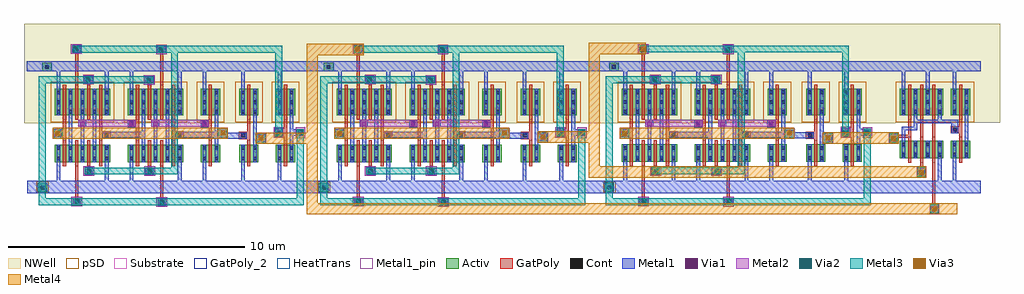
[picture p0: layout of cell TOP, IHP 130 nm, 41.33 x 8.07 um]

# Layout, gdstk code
from math import pi, radians
import gdstk
lib = gdstk.Library(unit=1e-6, precision=1e-09)
def R(c, l, rs):  # rectangles x0, y0, x1, y1
    for r in rs: c.add(gdstk.rectangle(r[:2], r[2:], *l))
def A(c, l, x, y, w, h, nx, ny, dx, dy):  # array of equal rectangles
    R(c, l, [(x+i*dx, y+j*dy, x+i*dx+w, y+j*dy+h) for i in range(nx) for j in range(ny)])
def P(c, l, *ps):  # polygons
    for p in ps: c.add(gdstk.Polygon(p, *l))
Activ = (1, 0)
GatPoly = (5, 0)
GatPoly_2 = (5, 2)
Cont = (6, 0)
Metal1 = (8, 0)
Metal1_pin = (8, 2)
Metal2 = (10, 0)
pSD = (14, 0)
Via1 = (19, 0)
Via2 = (29, 0)
Metal3 = (30, 0)
NWell = (31, 0)
Substrate = (40, 0)
Via3 = (49, 0)
Metal4 = (50, 0)
HeatTrans = (51, 0)

pmos = lib.new_cell('pmos')
R(pmos, Activ, [(0,0,0.3,0.3), (0,0,0.81,1.12), (0.51,0,0.81,0.3)])
R(pmos, GatPoly, [(0.34,-0.18,0.47,1.3), (0.34,-0.18,0.47,1.3)])
A(pmos, Cont, 0.07, 0.07, 0.16, 0.16, 1, 3, 0, 0.41)
A(pmos, Cont, 0.58, 0.07, 0.16, 0.16, 1, 3, 0, 0.41)
R(pmos, Metal1, [(0.07,0,0.23,1.12), (0.07,0,0.23,1.12), (0.58,0,0.74,1.12), (0.58,0,0.74,1.12)])
R(pmos, pSD, [(-0.18,-0.3,0.99,1.42)])
R(pmos, NWell, [(-0.31,-0.31,1.12,1.43)])
R(pmos, Substrate, [(0.51,0,0.81,0.3)])
R(pmos, HeatTrans, [(0.34,-0.18,0.47,1.3)])
pmos.add(gdstk.Label('pmos', (0.405,0.56), layer=63, texttype=0))
pmos.add(gdstk.Label('pmos', (0.405,0.56), layer=51, texttype=0))

nmos = lib.new_cell('nmos')
R(nmos, Activ, [(0,0,0.3,0.3), (0,0,0.81,0.74), (0.51,0,0.81,0.3)])
R(nmos, GatPoly, [(0.34,-0.18,0.47,0.92)])
R(nmos, GatPoly_2, [(0.34,-0.18,0.47,0.92)])
R(nmos, Cont, [(0.07,0.07,0.23,0.23), (0.58,0.07,0.74,0.23), (0.07,0.51,0.23,0.67), (0.58,0.51,0.74,0.67)])
R(nmos, Metal1, [(0.07,0,0.23,0.74), (0.58,0,0.74,0.74)])
R(nmos, Metal1_pin, [(0.07,0,0.23,0.74), (0.58,0,0.74,0.74)])
R(nmos, HeatTrans, [(0.34,-0.18,0.47,0.92)])
nmos.add(gdstk.Label('nmos', (0.405,0.37), layer=63, texttype=0))
nmos.add(gdstk.Label('nmos', (0.405,0.37), layer=51, texttype=0))

via_stack_2 = lib.new_cell('via_stack$2')
R(via_stack_2, Metal1, [(-0.145,-0.145,0.145,0.145)])
R(via_stack_2, Metal2, [(-0.145,-0.145,0.145,0.145)])
R(via_stack_2, Via1, [(-0.095,-0.095,0.095,0.095)])
R(via_stack_2, Via2, [(-0.095,-0.095,0.095,0.095)])
R(via_stack_2, Metal3, [(-0.145,-0.145,0.145,0.145)])

via_stack_1 = lib.new_cell('via_stack$1')
R(via_stack_1, Metal1, [(-0.145,-0.145,0.145,0.145)])
R(via_stack_1, Metal2, [(-0.145,-0.145,0.145,0.145)])
R(via_stack_1, Via1, [(-0.095,-0.095,0.095,0.095)])

via_stack = lib.new_cell('via_stack')
R(via_stack, Metal1, [(-0.145,-0.145,0.145,0.145)])
R(via_stack, Metal2, [(-0.145,-0.145,0.145,0.145)])
R(via_stack, Via1, [(-0.095,-0.095,0.095,0.095)])
R(via_stack, Via2, [(-0.095,-0.095,0.095,0.095)])
R(via_stack, Metal3, [(-0.145,-0.145,0.145,0.145)])
R(via_stack, Via3, [(-0.095,-0.095,0.095,0.095)])
R(via_stack, Metal4, [(-0.145,-0.145,0.145,0.145)])

top = lib.new_cell('TOP')
R(top, Activ, [(-26.175,-9.57,-25.765,-9.205), (-14.25,-9.57,-13.84,-9.205), (-2.17,-9.565,-1.76,-9.2), (-25.965,-4.48,-25.555,-4.115), (-14.04,-4.48,-13.63,-4.115), (-1.96,-4.475,-1.55,-4.11)])
A(top, GatPoly, 10.695, -7.27, 0.13, 0.905, 3, 1, 0.51, 0)
R(top, GatPoly, [(-20.98,-9.785,-20.85,-8.75), (-9.055,-9.785,-8.925,-8.75), (3.025,-9.78,3.155,-8.745), (-24.58,-9.775,-24.45,-8.74), (-12.655,-9.775,-12.525,-8.74), (-0.575,-9.77,-0.445,-8.735), (-20.98,-9.53,-20.85,-8.495), (-9.055,-9.53,-8.925,-8.495), (3.025,-9.525,3.155,-8.49), (-24.58,-9.52,-24.45,-8.485), (-12.655,-9.52,-12.525,-8.485), (-0.575,-9.515,-0.445,-8.48), (11.1,-8.915,11.405,-8.57), (11.1,-8.915,11.405,-8.57), (11.205,-8.8,11.335,-7.895), (9.925,-7.47,10.23,-7.125), (9.925,-7.47,10.23,-7.125), (-22,-7.45,-21.87,-6.37), (-18.91,-7.45,-18.78,-6.37), (-10.075,-7.45,-9.945,-6.37), (-6.985,-7.45,-6.855,-6.37), (2.005,-7.445,2.135,-6.365), (5.095,-7.445,5.225,-6.365), (-17.28,-7.41,-17.15,-6.37), (-5.355,-7.41,-5.225,-6.37), (6.725,-7.405,6.855,-6.365), (-17.64,-7.34,-17.28,-7.035), (-5.715,-7.34,-5.355,-7.035), (6.365,-7.335,6.725,-7.03), (9.925,-7.28,10.72,-7.15), (12.855,-7.27,12.985,-6.365), (12.495,-7.095,12.855,-6.79), (-22.355,-6.84,-22.01,-6.535), (-22.01,-6.84,-21.99,-6.535), (-19.265,-6.84,-18.92,-6.535), (-18.92,-6.84,-18.9,-6.535), (-10.43,-6.84,-10.085,-6.535), (-10.085,-6.84,-10.065,-6.535), (-7.34,-6.84,-6.995,-6.535), (-6.995,-6.84,-6.975,-6.535), (1.65,-6.835,1.995,-6.53), (1.995,-6.835,2.015,-6.53), (4.74,-6.835,5.085,-6.53), (5.085,-6.835,5.105,-6.53), (-20.98,-5.05,-20.85,-4.015), (-9.055,-5.05,-8.925,-4.015), (3.025,-5.045,3.155,-4.01), (-24.58,-5.04,-24.45,-4.005), (-12.655,-5.04,-12.525,-4.005), (-0.575,-5.035,-0.445,-4), (-20.98,-4.795,-20.85,-3.76), (-9.055,-4.795,-8.925,-3.76), (3.025,-4.79,3.155,-3.755), (-24.58,-4.785,-24.45,-3.75), (-12.655,-4.785,-12.525,-3.75), (-0.575,-4.78,-0.445,-3.745)])
P(top, GatPoly, [(11.64,-10.515),(11.64,-10.07),(11.715,-10.07),(11.715,-8.335),(11.845,-8.335),(11.845,-10.07),(12.025,-10.07),(12.025,-10.515)],
  [(-0.575,-3.75),(-0.575,-3.67),(-0.69,-3.67),(-0.69,-3.365),(-0.345,-3.365),(-0.345,-3.67),(-0.445,-3.67),(-0.445,-3.75)],
  [(-13.165,-7.405),(-13.165,-7.27),(-13.55,-7.27),(-13.55,-6.925),(-13.165,-6.925),(-13.165,-6.37),(-13.035,-6.37),(-13.035,-7.405)],
  [(-25.09,-7.405),(-25.09,-7.27),(-25.475,-7.27),(-25.475,-6.925),(-25.09,-6.925),(-25.09,-6.37),(-24.96,-6.37),(-24.96,-7.405)],
  [(-1.085,-7.4),(-1.085,-7.265),(-1.47,-7.265),(-1.47,-6.92),(-1.085,-6.92),(-1.085,-6.365),(-0.955,-6.365),(-0.955,-7.4)],
  [(-12.145,-5.055),(-12.145,-4.975),(-12.26,-4.975),(-12.26,-4.67),(-11.915,-4.67),(-11.915,-4.975),(-12.015,-4.975),(-12.015,-5.055)],
  [(-9.565,-5.06),(-9.565,-4.98),(-9.68,-4.98),(-9.68,-4.675),(-9.335,-4.675),(-9.335,-4.98),(-9.435,-4.98),(-9.435,-5.06)],
  [(-9.665,-8.855),(-9.665,-8.55),(-9.565,-8.55),(-9.565,-8.47),(-9.435,-8.47),(-9.435,-8.55),(-9.32,-8.55),(-9.32,-8.855)],
  [(-12.245,-8.85),(-12.245,-8.545),(-12.145,-8.545),(-12.145,-8.465),(-12.015,-8.465),(-12.015,-8.545),(-11.9,-8.545),(-11.9,-8.85)],
  [(-12.655,-3.76),(-12.655,-3.68),(-12.77,-3.68),(-12.77,-3.375),(-12.425,-3.375),(-12.425,-3.68),(-12.525,-3.68),(-12.525,-3.76)],
  [(-9.055,-3.77),(-9.055,-3.69),(-9.17,-3.69),(-9.17,-3.385),(-8.825,-3.385),(-8.825,-3.69),(-8.925,-3.69),(-8.925,-3.77)],
  [(-9.155,-10.16),(-9.155,-9.855),(-9.055,-9.855),(-9.055,-9.775),(-8.925,-9.775),(-8.925,-9.855),(-8.81,-9.855),(-8.81,-10.16)],
  [(-3.805,-7.41),(-3.805,-7.24),(-4.19,-7.24),(-4.19,-6.895),(-3.805,-6.895),(-3.805,-6.37),(-3.675,-6.37),(-3.675,-7.41)],
  [(-11.635,-7.435),(-11.635,-6.37),(-11.505,-6.37),(-11.505,-7.015),(-11.145,-7.015),(-11.145,-7.32),(-11.505,-7.32),(-11.505,-7.435)],
  [(-8.545,-7.435),(-8.545,-6.37),(-8.415,-6.37),(-8.415,-7.015),(-8.055,-7.015),(-8.055,-7.32),(-8.415,-7.32),(-8.415,-7.435)],
  [(-12.755,-10.15),(-12.755,-9.845),(-12.655,-9.845),(-12.655,-9.765),(-12.525,-9.765),(-12.525,-9.845),(-12.41,-9.845),(-12.41,-10.15)],
  [(-24.68,-10.15),(-24.68,-9.845),(-24.58,-9.845),(-24.58,-9.765),(-24.45,-9.765),(-24.45,-9.845),(-24.335,-9.845),(-24.335,-10.15)],
  [(-20.47,-7.435),(-20.47,-6.37),(-20.34,-6.37),(-20.34,-7.015),(-19.98,-7.015),(-19.98,-7.32),(-20.34,-7.32),(-20.34,-7.435)],
  [(-23.56,-7.435),(-23.56,-6.37),(-23.43,-6.37),(-23.43,-7.015),(-23.07,-7.015),(-23.07,-7.32),(-23.43,-7.32),(-23.43,-7.435)],
  [(-15.73,-7.41),(-15.73,-7.24),(-16.115,-7.24),(-16.115,-6.895),(-15.73,-6.895),(-15.73,-6.37),(-15.6,-6.37),(-15.6,-7.41)],
  [(-21.08,-10.16),(-21.08,-9.855),(-20.98,-9.855),(-20.98,-9.775),(-20.85,-9.775),(-20.85,-9.855),(-20.735,-9.855),(-20.735,-10.16)],
  [(-20.98,-3.77),(-20.98,-3.69),(-21.095,-3.69),(-21.095,-3.385),(-20.75,-3.385),(-20.75,-3.69),(-20.85,-3.69),(-20.85,-3.77)],
  [(-24.58,-3.76),(-24.58,-3.68),(-24.695,-3.68),(-24.695,-3.375),(-24.35,-3.375),(-24.35,-3.68),(-24.45,-3.68),(-24.45,-3.76)],
  [(-24.17,-8.85),(-24.17,-8.545),(-24.07,-8.545),(-24.07,-8.465),(-23.94,-8.465),(-23.94,-8.545),(-23.825,-8.545),(-23.825,-8.85)],
  [(-21.59,-8.855),(-21.59,-8.55),(-21.49,-8.55),(-21.49,-8.47),(-21.36,-8.47),(-21.36,-8.55),(-21.245,-8.55),(-21.245,-8.855)],
  [(-21.49,-5.06),(-21.49,-4.98),(-21.605,-4.98),(-21.605,-4.675),(-21.26,-4.675),(-21.26,-4.98),(-21.36,-4.98),(-21.36,-5.06)],
  [(-24.07,-5.055),(-24.07,-4.975),(-24.185,-4.975),(-24.185,-4.67),(-23.84,-4.67),(-23.84,-4.975),(-23.94,-4.975),(-23.94,-5.055)],
  [(-0.675,-10.145),(-0.675,-9.84),(-0.575,-9.84),(-0.575,-9.76),(-0.445,-9.76),(-0.445,-9.84),(-0.33,-9.84),(-0.33,-10.145)],
  [(3.535,-7.43),(3.535,-6.365),(3.665,-6.365),(3.665,-7.01),(4.025,-7.01),(4.025,-7.315),(3.665,-7.315),(3.665,-7.43)],
  [(0.445,-7.43),(0.445,-6.365),(0.575,-6.365),(0.575,-7.01),(0.935,-7.01),(0.935,-7.315),(0.575,-7.315),(0.575,-7.43)],
  [(8.275,-7.405),(8.275,-7.235),(7.89,-7.235),(7.89,-6.89),(8.275,-6.89),(8.275,-6.365),(8.405,-6.365),(8.405,-7.405)],
  [(2.925,-10.155),(2.925,-9.85),(3.025,-9.85),(3.025,-9.77),(3.155,-9.77),(3.155,-9.85),(3.27,-9.85),(3.27,-10.155)],
  [(3.025,-3.765),(3.025,-3.685),(2.91,-3.685),(2.91,-3.38),(3.255,-3.38),(3.255,-3.685),(3.155,-3.685),(3.155,-3.765)],
  [(-0.165,-8.845),(-0.165,-8.54),(-0.065,-8.54),(-0.065,-8.46),(0.065,-8.46),(0.065,-8.54),(0.18,-8.54),(0.18,-8.845)],
  [(2.415,-8.85),(2.415,-8.545),(2.515,-8.545),(2.515,-8.465),(2.645,-8.465),(2.645,-8.545),(2.76,-8.545),(2.76,-8.85)],
  [(2.515,-5.055),(2.515,-4.975),(2.4,-4.975),(2.4,-4.67),(2.745,-4.67),(2.745,-4.975),(2.645,-4.975),(2.645,-5.055)],
  [(-0.065,-5.05),(-0.065,-4.97),(-0.18,-4.97),(-0.18,-4.665),(0.165,-4.665),(0.165,-4.97),(0.065,-4.97),(0.065,-5.05)],
  [(-0.575,-3.75),(-0.575,-3.67),(-0.69,-3.67),(-0.69,-3.365),(-0.345,-3.365),(-0.345,-3.67),(-0.445,-3.67),(-0.445,-3.75)])
R(top, Cont, [(11.735,-10.39,11.895,-10.23), (11.735,-10.39,11.895,-10.23), (11.735,-10.39,11.895,-10.23), (11.735,-10.39,11.895,-10.23), (-20.975,-10.085,-20.815,-9.925), (-20.975,-10.085,-20.815,-9.925), (-9.05,-10.085,-8.89,-9.925), (-9.05,-10.085,-8.89,-9.925), (3.03,-10.08,3.19,-9.92), (3.03,-10.08,3.19,-9.92), (-24.575,-10.075,-24.415,-9.915), (-24.575,-10.075,-24.415,-9.915), (-12.65,-10.075,-12.49,-9.915), (-12.65,-10.075,-12.49,-9.915), (-0.57,-10.07,-0.41,-9.91), (-0.57,-10.07,-0.41,-9.91), (-26.045,-9.48,-25.885,-9.32), (-14.12,-9.48,-13.96,-9.32), (-2.04,-9.475,-1.88,-9.315), (11.175,-8.835,11.335,-8.675), (11.175,-8.835,11.335,-8.675), (11.175,-8.835,11.335,-8.675), (11.175,-8.835,11.335,-8.675), (-21.485,-8.78,-21.325,-8.62), (-9.56,-8.78,-9.4,-8.62), (-24.065,-8.775,-23.905,-8.615), (-12.14,-8.775,-11.98,-8.615), (2.52,-8.775,2.68,-8.615), (-0.06,-8.77,0.1,-8.61), (10,-7.39,10.16,-7.23), (10,-7.39,10.16,-7.23), (10,-7.39,10.16,-7.23), (10,-7.39,10.16,-7.23), (-17.535,-7.27,-17.375,-7.11), (-5.61,-7.27,-5.45,-7.11), (6.47,-7.265,6.63,-7.105), (-23.325,-7.25,-23.165,-7.09), (-20.235,-7.25,-20.075,-7.09), (-11.4,-7.25,-11.24,-7.09), (-8.31,-7.25,-8.15,-7.09), (0.68,-7.245,0.84,-7.085), (3.77,-7.245,3.93,-7.085), (-25.4,-7.19,-25.24,-7.03), (-13.475,-7.19,-13.315,-7.03), (-1.395,-7.185,-1.235,-7.025), (-16.04,-7.16,-15.88,-7), (-4.115,-7.16,-3.955,-7), (7.965,-7.155,8.125,-6.995), (12.6,-7.025,12.76,-6.865), (-22.275,-6.77,-22.115,-6.61), (-19.185,-6.77,-19.025,-6.61), (-10.35,-6.77,-10.19,-6.61), (-7.26,-6.77,-7.1,-6.61), (1.73,-6.765,1.89,-6.605), (4.82,-6.765,4.98,-6.605), (-21.525,-4.91,-21.365,-4.75), (-21.525,-4.91,-21.365,-4.75), (-9.6,-4.91,-9.44,-4.75), (-9.6,-4.91,-9.44,-4.75), (-24.105,-4.905,-23.945,-4.745), (-24.105,-4.905,-23.945,-4.745), (-12.18,-4.905,-12.02,-4.745), (-12.18,-4.905,-12.02,-4.745), (2.48,-4.905,2.64,-4.745), (2.48,-4.905,2.64,-4.745), (-0.1,-4.9,0.06,-4.74), (-0.1,-4.9,0.06,-4.74), (-25.85,-4.37,-25.69,-4.21), (-13.925,-4.37,-13.765,-4.21), (-1.845,-4.365,-1.685,-4.205), (-21.015,-3.62,-20.855,-3.46), (-21.015,-3.62,-20.855,-3.46), (-9.09,-3.62,-8.93,-3.46), (-9.09,-3.62,-8.93,-3.46), (2.99,-3.615,3.15,-3.455), (2.99,-3.615,3.15,-3.455), (-24.615,-3.61,-24.455,-3.45), (-24.615,-3.61,-24.455,-3.45), (-12.69,-3.61,-12.53,-3.45), (-12.69,-3.61,-12.53,-3.45), (-0.61,-3.6,-0.45,-3.44), (-0.61,-3.6,-0.45,-3.44), (-0.61,-3.6,-0.45,-3.44), (-0.61,-3.6,-0.45,-3.44)])
A(top, Metal1, -26.085, -9.645, 3.18, 0.54, 3, 1, 0.51, 0)
A(top, Metal1, -14.16, -9.645, 3.18, 0.54, 3, 1, 0.51, 0)
A(top, Metal1, -2.08, -9.64, 3.18, 0.54, 3, 1, 0.51, 0)
A(top, Metal1, 9.19, -9.64, 3.18, 0.54, 3, 1, 0.51, 0)
A(top, Metal1, 9.165, -4.475, 3.18, 0.425, 3, 1, 0.51, 0)
R(top, Metal1, [(11.66,-10.475,11.965,-10.12), (11.66,-10.475,11.965,-10.12), (-21.085,-10.16,-20.73,-9.855), (-9.16,-10.16,-8.805,-9.855), (2.92,-10.155,3.275,-9.85), (-24.685,-10.15,-24.33,-9.845), (-12.76,-10.15,-12.405,-9.845), (-0.68,-10.145,-0.325,-9.84), (-22.53,-9.645,-19.815,-9.105), (-22.485,-9.645,-19.305,-9.105), (-21.975,-9.645,-18.795,-9.105), (-10.605,-9.645,-7.89,-9.105), (-10.56,-9.645,-7.38,-9.105), (-10.05,-9.645,-6.87,-9.105), (1.475,-9.64,4.19,-9.1), (1.52,-9.64,4.7,-9.1), (2.03,-9.64,5.21,-9.1), (-23.32,-9.195,-23.16,-8.3), (-20.23,-9.195,-20.07,-8.3), (-11.395,-9.195,-11.235,-8.3), (-8.305,-9.195,-8.145,-8.3), (11.955,-9.195,12.115,-8.13), (0.685,-9.19,0.845,-8.295), (3.775,-9.19,3.935,-8.295), (11.1,-8.92,11.405,-8.565), (11.1,-8.92,11.405,-8.565), (-21.595,-8.855,-21.24,-8.55), (-9.67,-8.855,-9.315,-8.55), (-24.175,-8.85,-23.82,-8.545), (-12.25,-8.85,-11.895,-8.545), (2.41,-8.85,2.765,-8.545), (-0.17,-8.845,0.185,-8.54), (-24.34,-7.61,-24.18,-6.34), (-21.25,-7.61,-21.09,-6.34), (-12.415,-7.61,-12.255,-6.34), (-9.325,-7.61,-9.165,-6.34), (-0.335,-7.605,-0.175,-6.335), (2.755,-7.605,2.915,-6.335), (-24.85,-7.585,-24.69,-6.34), (-21.76,-7.585,-21.6,-6.34), (-12.925,-7.585,-12.765,-6.34), (-9.835,-7.585,-9.675,-6.34), (-23.83,-7.58,-23.67,-6.3), (-20.74,-7.58,-20.58,-6.3), (-11.905,-7.58,-11.745,-6.3), (-8.815,-7.58,-8.655,-6.3), (-0.845,-7.58,-0.685,-6.335), (2.245,-7.58,2.405,-6.335), (-17.04,-7.575,-16.88,-6.34), (-5.115,-7.575,-4.955,-6.34), (0.175,-7.575,0.335,-6.295), (3.265,-7.575,3.425,-6.295), (6.965,-7.57,7.125,-6.335), (13.095,-7.52,13.255,-6.285), (9.925,-7.475,10.23,-7.12), (9.925,-7.475,10.23,-7.12), (-16.885,-7.46,-16.53,-7.155), (7.12,-7.455,7.475,-7.15), (-4.955,-7.42,-4.6,-7.115), (-18.67,-7.32,-17.305,-7.065), (-6.745,-7.32,-5.38,-7.065), (5.335,-7.315,6.7,-7.06), (-25.475,-7.275,-25.17,-6.92), (-13.55,-7.275,-13.245,-6.92), (-1.47,-7.27,-1.165,-6.915), (-18.51,-7.25,-18.155,-6.945), (-6.585,-7.25,-6.23,-6.945), (-16.115,-7.245,-15.81,-6.89), (-4.19,-7.245,-3.885,-6.89), (5.495,-7.245,5.85,-6.94), (7.89,-7.24,8.195,-6.885), (12.535,-7.095,12.83,-6.52), (-22.355,-6.84,-22.02,-6.535), (-19.265,-6.84,-18.93,-6.535), (-10.43,-6.84,-10.095,-6.535), (-7.34,-6.84,-7.005,-6.535), (1.65,-6.835,1.985,-6.53), (4.74,-6.835,5.075,-6.53), (-24.44,-6.83,-24.105,-6.525), (-24.44,-6.83,-24.105,-6.525), (-21.35,-6.83,-21.015,-6.525), (-21.35,-6.83,-21.015,-6.525), (-12.515,-6.83,-12.18,-6.525), (-12.515,-6.83,-12.18,-6.525), (-9.425,-6.83,-9.09,-6.525), (-9.425,-6.83,-9.09,-6.525), (-0.435,-6.825,-0.1,-6.52), (-0.435,-6.825,-0.1,-6.52), (2.655,-6.825,2.99,-6.52), (2.655,-6.825,2.99,-6.52), (11.445,-5.435,11.605,-4.37), (10.425,-5.285,10.585,-4.22), (-21.61,-4.98,-21.255,-4.675), (-9.685,-4.98,-9.33,-4.675), (-24.19,-4.975,-23.835,-4.67), (-12.265,-4.975,-11.91,-4.67), (2.395,-4.975,2.75,-4.67), (-0.185,-4.97,0.17,-4.665), (-21.1,-3.69,-20.745,-3.385), (-9.175,-3.69,-8.82,-3.385), (2.905,-3.685,3.26,-3.38), (-24.7,-3.68,-24.345,-3.375), (-12.775,-3.68,-12.42,-3.375), (-0.695,-3.67,-0.34,-3.365), (-0.695,-3.67,-0.34,-3.365)])
P(top, Metal1, [(12.585,-5.22),(12.585,-4.47),(11.325,-4.47),(11.325,-4.045),(13.77,-4.045),(13.77,-4.47),(12.745,-4.47),(12.745,-5.22)],
  [(10.425,-7.555),(10.425,-6.815),(10.935,-6.815),(10.935,-6.335),(11.095,-6.335),(11.095,-6.52),(11.955,-6.52),(11.955,-6.33),(12.115,-6.33),(12.115,-6.52),(12.57,-6.52),(12.57,-6.68),(11.095,-6.68),(11.095,-6.975),(10.585,-6.975),(10.585,-7.555)],
  [(11.35,-9.64),(11.35,-9.1),(12.585,-9.1),(12.585,-8.055),(12.745,-8.055),(12.745,-9.1),(13.77,-9.1),(13.77,-9.64)],
  [(-3.565,-7.575),(-3.565,-6.34),(-3.405,-6.34),(-3.405,-6.92),(-3.225,-6.92),(-3.225,-7.21),(-3.405,-7.21),(-3.405,-7.575)],
  [(-5.31,-9.645),(-5.31,-9.105),(-4.075,-9.105),(-4.075,-8.175),(-3.915,-8.175),(-3.915,-9.105),(-2.13,-9.105),(-2.13,-9.645)],
  [(-4.075,-5.23),(-4.075,-4.48),(-5.335,-4.48),(-5.335,-4.055),(-2.155,-4.055),(-2.155,-4.48),(-3.915,-4.48),(-3.915,-5.23)],
  [(-10.345,-5.23),(-10.345,-4.48),(-11.235,-4.48),(-11.235,-5.22),(-11.395,-5.22),(-11.395,-4.48),(-14.185,-4.48),(-14.185,-4.055),(-8.425,-4.055),(-8.425,-4.48),(-10.185,-4.48),(-10.185,-5.23)],
  [(-14.67,-9.645),(-14.67,-9.105),(-13.435,-9.105),(-13.435,-8.175),(-13.275,-8.175),(-13.275,-9.105),(-11.49,-9.105),(-11.49,-9.645)],
  [(-13.435,-5.23),(-13.435,-4.48),(-14.695,-4.48),(-14.695,-4.055),(-11.515,-4.055),(-11.515,-4.48),(-13.275,-4.48),(-13.275,-5.23)],
  [(-9.835,-7.605),(-9.835,-7.295),(-11.505,-7.295),(-11.505,-7.04),(-9.835,-7.04),(-9.835,-6.34),(-9.675,-6.34),(-9.675,-7.605)],
  [(-6.745,-7.605),(-6.745,-7.295),(-8.415,-7.295),(-8.415,-7.04),(-6.745,-7.04),(-6.745,-6.34),(-6.585,-6.34),(-6.585,-7.605)],
  [(-7.255,-5.23),(-7.255,-4.48),(-8.145,-4.48),(-8.145,-5.22),(-8.305,-5.22),(-8.305,-4.48),(-10.605,-4.48),(-10.605,-4.055),(-5.335,-4.055),(-5.335,-4.48),(-7.095,-4.48),(-7.095,-5.23)],
  [(-11.58,-9.645),(-11.58,-9.105),(-10.345,-9.105),(-10.345,-8.175),(-10.185,-8.175),(-10.185,-9.105),(-8.4,-9.105),(-8.4,-9.645)],
  [(-8.49,-9.645),(-8.49,-9.105),(-7.255,-9.105),(-7.255,-8.175),(-7.095,-8.175),(-7.095,-9.105),(-5.31,-9.105),(-5.31,-9.645)],
  [(-5.625,-5.23),(-5.625,-4.48),(-6.885,-4.48),(-6.885,-4.055),(-3.705,-4.055),(-3.705,-4.48),(-5.465,-4.48),(-5.465,-5.23)],
  [(-6.86,-9.645),(-6.86,-9.105),(-5.625,-9.105),(-5.625,-8.175),(-5.465,-8.175),(-5.465,-9.105),(-3.68,-9.105),(-3.68,-9.645)],
  [(-18.785,-9.645),(-18.785,-9.105),(-17.55,-9.105),(-17.55,-8.175),(-17.39,-8.175),(-17.39,-9.105),(-15.605,-9.105),(-15.605,-9.645)],
  [(-17.55,-5.23),(-17.55,-4.48),(-18.81,-4.48),(-18.81,-4.055),(-15.63,-4.055),(-15.63,-4.48),(-17.39,-4.48),(-17.39,-5.23)],
  [(-20.415,-9.645),(-20.415,-9.105),(-19.18,-9.105),(-19.18,-8.175),(-19.02,-8.175),(-19.02,-9.105),(-17.235,-9.105),(-17.235,-9.645)],
  [(-23.505,-9.645),(-23.505,-9.105),(-22.27,-9.105),(-22.27,-8.175),(-22.11,-8.175),(-22.11,-9.105),(-20.325,-9.105),(-20.325,-9.645)],
  [(-19.18,-5.23),(-19.18,-4.48),(-20.07,-4.48),(-20.07,-5.22),(-20.23,-5.22),(-20.23,-4.48),(-22.53,-4.48),(-22.53,-4.055),(-17.26,-4.055),(-17.26,-4.48),(-19.02,-4.48),(-19.02,-5.23)],
  [(-18.67,-7.605),(-18.67,-7.295),(-20.34,-7.295),(-20.34,-7.04),(-18.67,-7.04),(-18.67,-6.34),(-18.51,-6.34),(-18.51,-7.605)],
  [(-21.76,-7.605),(-21.76,-7.295),(-23.43,-7.295),(-23.43,-7.04),(-21.76,-7.04),(-21.76,-6.34),(-21.6,-6.34),(-21.6,-7.605)],
  [(-25.36,-5.23),(-25.36,-4.48),(-26.62,-4.48),(-26.62,-4.055),(-23.44,-4.055),(-23.44,-4.48),(-25.2,-4.48),(-25.2,-5.23)],
  [(-26.595,-9.645),(-26.595,-9.105),(-25.36,-9.105),(-25.36,-8.175),(-25.2,-8.175),(-25.2,-9.105),(-23.415,-9.105),(-23.415,-9.645)],
  [(-22.27,-5.23),(-22.27,-4.48),(-23.16,-4.48),(-23.16,-5.22),(-23.32,-5.22),(-23.32,-4.48),(-26.11,-4.48),(-26.11,-4.055),(-20.35,-4.055),(-20.35,-4.48),(-22.11,-4.48),(-22.11,-5.23)],
  [(-16,-5.23),(-16,-4.48),(-17.26,-4.48),(-17.26,-4.055),(-14.08,-4.055),(-14.08,-4.48),(-15.84,-4.48),(-15.84,-5.23)],
  [(-17.235,-9.645),(-17.235,-9.105),(-16,-9.105),(-16,-8.175),(-15.84,-8.175),(-15.84,-9.105),(-14.055,-9.105),(-14.055,-9.645)],
  [(-15.49,-7.575),(-15.49,-6.34),(-15.33,-6.34),(-15.33,-6.92),(-15.15,-6.92),(-15.15,-7.21),(-15.33,-7.21),(-15.33,-7.575)],
  [(5.22,-9.64),(5.22,-9.1),(6.455,-9.1),(6.455,-8.17),(6.615,-8.17),(6.615,-9.1),(8.4,-9.1),(8.4,-9.64)],
  [(6.455,-5.225),(6.455,-4.475),(5.195,-4.475),(5.195,-4.05),(8.375,-4.05),(8.375,-4.475),(6.615,-4.475),(6.615,-5.225)],
  [(3.59,-9.64),(3.59,-9.1),(4.825,-9.1),(4.825,-8.17),(4.985,-8.17),(4.985,-9.1),(6.77,-9.1),(6.77,-9.64)],
  [(0.5,-9.64),(0.5,-9.1),(1.735,-9.1),(1.735,-8.17),(1.895,-8.17),(1.895,-9.1),(3.68,-9.1),(3.68,-9.64)],
  [(4.825,-5.225),(4.825,-4.475),(3.935,-4.475),(3.935,-5.215),(3.775,-5.215),(3.775,-4.475),(1.475,-4.475),(1.475,-4.05),(6.745,-4.05),(6.745,-4.475),(4.985,-4.475),(4.985,-5.225)],
  [(5.335,-7.6),(5.335,-7.29),(3.665,-7.29),(3.665,-7.035),(5.335,-7.035),(5.335,-6.335),(5.495,-6.335),(5.495,-7.6)],
  [(2.245,-7.6),(2.245,-7.29),(0.575,-7.29),(0.575,-7.035),(2.245,-7.035),(2.245,-6.335),(2.405,-6.335),(2.405,-7.6)],
  [(-1.355,-5.225),(-1.355,-4.475),(-2.615,-4.475),(-2.615,-4.05),(0.565,-4.05),(0.565,-4.475),(-1.195,-4.475),(-1.195,-5.225)],
  [(-2.59,-9.64),(-2.59,-9.1),(-1.355,-9.1),(-1.355,-8.17),(-1.195,-8.17),(-1.195,-9.1),(0.59,-9.1),(0.59,-9.64)],
  [(1.735,-5.225),(1.735,-4.475),(0.845,-4.475),(0.845,-5.215),(0.685,-5.215),(0.685,-4.475),(-2.105,-4.475),(-2.105,-4.05),(3.655,-4.05),(3.655,-4.475),(1.895,-4.475),(1.895,-5.225)],
  [(8.005,-5.225),(8.005,-4.475),(6.745,-4.475),(6.745,-4.05),(9.925,-4.05),(9.925,-4.475),(8.165,-4.475),(8.165,-5.225)],
  [(6.77,-9.64),(6.77,-9.1),(8.005,-9.1),(8.005,-8.17),(8.165,-8.17),(8.165,-9.1),(9.95,-9.1),(9.95,-9.64)],
  [(8.515,-7.57),(8.515,-6.335),(8.675,-6.335),(8.675,-6.915),(8.855,-6.915),(8.855,-7.205),(8.675,-7.205),(8.675,-7.57)])
R(top, Metal2, [(11.615,-10.525,12.02,-10.065), (11.615,-10.525,12.02,-10.065), (-21.14,-10.205,-20.68,-9.8), (-9.215,-10.205,-8.755,-9.8), (2.865,-10.2,3.325,-9.795), (-24.74,-10.195,-24.28,-9.79), (-12.815,-10.195,-12.355,-9.79), (-0.735,-10.19,-0.275,-9.785), (11.055,-8.97,11.46,-8.51), (11.055,-8.97,11.46,-8.51), (-21.65,-8.9,-21.19,-8.495), (-9.725,-8.9,-9.265,-8.495), (-24.23,-8.895,-23.77,-8.49), (-12.305,-8.895,-11.845,-8.49), (2.355,-8.895,2.815,-8.49), (-0.225,-8.89,0.235,-8.485), (9.88,-7.525,10.285,-7.065), (9.88,-7.525,10.285,-7.065), (-16.935,-7.515,-16.475,-7.11), (7.07,-7.51,7.53,-7.105), (-5.005,-7.475,-4.545,-7.07), (-25.52,-7.325,-25.115,-6.865), (-13.595,-7.325,-13.19,-6.865), (-1.515,-7.32,-1.11,-6.86), (-15.235,-7.3,-14.83,-6.84), (-3.31,-7.3,-2.905,-6.84), (-18.565,-7.295,-18.105,-6.89), (-16.16,-7.295,-15.755,-6.835), (-6.64,-7.295,-6.18,-6.89), (-4.235,-7.295,-3.83,-6.835), (8.77,-7.295,9.175,-6.835), (5.44,-7.29,5.9,-6.885), (7.845,-7.29,8.25,-6.83), (-24.435,-6.83,-22.01,-6.525), (-21.345,-6.83,-18.92,-6.525), (-12.51,-6.83,-10.085,-6.525), (-9.42,-6.83,-6.995,-6.525), (-0.43,-6.825,1.995,-6.52), (2.66,-6.825,5.085,-6.52), (-21.66,-5.035,-21.2,-4.63), (-9.735,-5.035,-9.275,-4.63), (-24.24,-5.03,-23.78,-4.625), (-12.315,-5.03,-11.855,-4.625), (2.345,-5.03,2.805,-4.625), (-0.235,-5.025,0.225,-4.62), (-21.15,-3.745,-20.69,-3.34), (-9.225,-3.745,-8.765,-3.34), (2.855,-3.74,3.315,-3.335), (-24.75,-3.735,-24.29,-3.33), (-12.825,-3.735,-12.365,-3.33), (-0.745,-3.725,-0.285,-3.32), (-0.745,-3.725,-0.285,-3.32)])
R(top, pSD, [(-26.225,-9.62,-25.695,-9.145), (-14.3,-9.62,-13.77,-9.145), (-2.22,-9.615,-1.69,-9.14)])
R(top, Metal3, [(11.64,-10.49,12.005,-10.095), (11.08,-8.935,11.445,-8.54), (-16.915,-7.53,-16.5,-7.07), (7.09,-7.525,7.505,-7.065), (-4.985,-7.49,-4.57,-7.03), (9.905,-7.49,10.27,-7.095), (-25.52,-7.325,-25.105,-6.865), (-13.595,-7.325,-13.18,-6.865), (-18.54,-7.32,-18.125,-6.86), (-6.615,-7.32,-6.2,-6.86), (-1.515,-7.32,-1.1,-6.86), (5.465,-7.315,5.88,-6.855), (-24.43,-3.68,-20.745,-3.39), (-20.75,-3.68,-17.065,-3.39), (-12.505,-3.68,-8.82,-3.39), (-8.825,-3.68,-5.14,-3.39), (-0.425,-3.675,3.26,-3.385), (3.255,-3.675,6.94,-3.385)])
P(top, Metal3, [(-14.185,-10.145),(-14.185,-4.685),(-9.34,-4.685),(-9.34,-4.975),(-13.895,-4.975),(-13.895,-9.855),(-3.26,-9.855),(-3.26,-6.92),(-2.97,-6.92),(-2.97,-10.145)],
  [(-26.11,-10.145),(-26.11,-4.685),(-21.265,-4.685),(-21.265,-4.975),(-25.82,-4.975),(-25.82,-9.855),(-15.185,-9.855),(-15.185,-6.92),(-14.895,-6.92),(-14.895,-10.145)],
  [(-2.105,-10.14),(-2.105,-4.68),(2.74,-4.68),(2.74,-4.97),(-1.815,-4.97),(-1.815,-9.85),(8.82,-9.85),(8.82,-6.915),(9.11,-6.915),(9.11,-10.14)],
  [(-12.24,-8.84),(-12.24,-8.55),(-8.59,-8.55),(-8.59,-3.68),(-8.3,-3.68),(-8.3,-8.84)],
  [(-4.175,-7.23),(-4.175,-3.68),(-6.86,-3.68),(-6.86,-3.39),(-3.885,-3.39),(-3.885,-7.23)],
  [(-16.1,-7.23),(-16.1,-3.68),(-18.785,-3.68),(-18.785,-3.39),(-15.81,-3.39),(-15.81,-7.23)],
  [(-24.165,-8.84),(-24.165,-8.55),(-20.515,-8.55),(-20.515,-3.68),(-20.225,-3.68),(-20.225,-8.84)],
  [(7.905,-7.225),(7.905,-3.675),(5.22,-3.675),(5.22,-3.385),(8.195,-3.385),(8.195,-7.225)],
  [(-0.16,-8.835),(-0.16,-8.545),(3.49,-8.545),(3.49,-3.675),(3.78,-3.675),(3.78,-8.835)])
A(top, NWell, 9.06, -6.66, 3.37, 4.205, 3, 1, 0.51, 0)
R(top, NWell, [(-26.74,-6.675,-13.825,-2.46), (-14.815,-6.675,-1.9,-2.46), (-2.735,-6.67,10.18,-2.455), (11.22,-6.66,14.59,-2.455)])
R(top, Metal4, [(7.08,-7.53,10.295,-7.06), (-25.52,-7.33,-18.12,-6.86), (-13.595,-7.33,-6.195,-6.86), (-1.515,-7.325,5.885,-6.855)])
P(top, Metal4, [(-2.83,-8.97),(-2.83,-7.49),(-4.98,-7.49),(-4.98,-7.02),(-2.83,-7.02),(-2.83,-3.27),(-0.415,-3.27),(-0.415,-3.74),(-2.36,-3.74),(-2.36,-8.5),(11.47,-8.5),(11.47,-8.97)],
  [(3.685,-10.53),(3.685,-10.525),(-14.77,-10.525),(-14.77,-3.315),(-14.3,-3.315),(-14.3,-10.055),(4.165,-10.055),(4.165,-10.06),(12.78,-10.06),(12.78,-10.53)],
  [(-16.925,-7.535),(-16.925,-7.065),(-14.775,-7.065),(-14.775,-3.315),(-12.36,-3.315),(-12.36,-3.785),(-14.305,-3.785),(-14.305,-7.535)])
top.add(gdstk.Reference(pmos, (7.935,-6.335)))
top.add(gdstk.Reference(nmos, (7.935,-8.31)))
top.add(gdstk.Reference(via_stack_2, (8.05,-7.075), rotation=pi/2))
top.add(gdstk.Reference(via_stack_2, (3.11,-9.995), rotation=pi))
top.add(gdstk.Reference(pmos, (0.105,-6.335)))
top.add(gdstk.Reference(via_stack_2, (3.07,-3.54)))
top.add(gdstk.Reference(via_stack_2, (0.02,-8.685), rotation=pi))
top.add(gdstk.Reference(via_stack_2, (2.6,-8.69), rotation=pi))
top.add(gdstk.Reference(via_stack_2, (2.56,-4.83)))
top.add(gdstk.Reference(via_stack_2, (-0.02,-4.825)))
top.add(gdstk.Reference(nmos, (6.385,-8.31)))
top.add(gdstk.Reference(pmos, (6.385,-6.335)))
top.add(gdstk.Reference(pmos, (2.175,-6.335)))
top.add(gdstk.Reference(nmos, (2.175,-8.31)))
top.add(gdstk.Reference(nmos, (2.685,-8.31)))
top.add(gdstk.Reference(pmos, (2.685,-6.335)))
top.add(gdstk.Reference(nmos, (3.195,-8.31)))
top.add(gdstk.Reference(pmos, (3.195,-6.335)))
top.add(gdstk.Reference(nmos, (4.755,-8.31)))
top.add(gdstk.Reference(pmos, (4.755,-6.335)))
top.add(gdstk.Reference(via_stack_1, (4.9,-6.68)))
top.add(gdstk.Reference(pmos, (1.665,-6.335)))
top.add(gdstk.Reference(nmos, (1.665,-8.31)))
top.add(gdstk.Reference(nmos, (0.105,-8.31)))
top.add(gdstk.Reference(pmos, (-0.405,-6.335)))
top.add(gdstk.Reference(nmos, (-0.405,-8.31)))
top.add(gdstk.Reference(nmos, (-0.915,-8.31)))
top.add(gdstk.Reference(pmos, (-0.915,-6.335)))
top.add(gdstk.Reference(pmos, (-1.425,-6.335)))
top.add(gdstk.Reference(nmos, (-1.425,-8.31)))
top.add(gdstk.Reference(via_stack, (-1.31,-7.105), rotation=pi/2))
top.add(gdstk.Reference(via_stack_1, (2.83,-6.675)))
top.add(gdstk.Reference(via_stack_1, (1.81,-6.68)))
top.add(gdstk.Reference(via_stack, (5.685,-7.085), rotation=pi))
top.add(gdstk.Reference(via_stack_1, (-0.26,-6.675)))
top.add(gdstk.Reference(via_stack, (-0.53,-3.525)))
top.add(gdstk.Reference(via_stack_2, (-3.115,-7.065)))
top.add(gdstk.Reference(pmos, (-4.145,-6.34)))
top.add(gdstk.Reference(nmos, (-4.145,-8.315)))
top.add(gdstk.Reference(via_stack_2, (-4.03,-7.08), rotation=pi/2))
top.add(gdstk.Reference(nmos, (-5.695,-8.315)))
top.add(gdstk.Reference(pmos, (-5.695,-6.34)))
top.add(gdstk.Reference(via_stack, (7.31,-7.295), rotation=pi))
top.add(gdstk.Reference(via_stack_2, (-0.49,-9.985), rotation=pi))
top.add(gdstk.Reference(via_stack_2, (8.965,-7.06)))
top.add(gdstk.Reference(via_stack, (-4.765,-7.26), rotation=pi))
top.add(gdstk.Reference(nmos, (10.865,-8.16)))
top.add(gdstk.Reference(pmos, (10.865,-6.335)))
top.add(gdstk.Reference(pmos, (12.515,-6.335)))
top.add(gdstk.Reference(nmos, (12.515,-8.16)))
top.add(gdstk.Reference(pmos, (11.375,-6.335)))
top.add(gdstk.Reference(nmos, (11.375,-8.16)))
top.add(gdstk.Reference(pmos, (10.355,-6.335)))
top.add(gdstk.Reference(nmos, (10.355,-8.16)))
top.add(gdstk.Reference(via_stack, (-0.53,-3.525)))
top.add(gdstk.Reference(via_stack, (10.085,-7.31), rotation=pi/2))
top.add(gdstk.Reference(via_stack, (10.085,-7.31), rotation=pi/2))
top.add(gdstk.Reference(via_stack, (11.26,-8.755), rotation=pi/2))
top.add(gdstk.Reference(via_stack, (11.26,-8.755), rotation=pi/2))
top.add(gdstk.Reference(via_stack, (11.82,-10.31), rotation=pi/2))
top.add(gdstk.Reference(via_stack, (11.82,-10.31), rotation=pi/2))
top.add(gdstk.Reference(pmos, (-19.25,-6.34)))
top.add(gdstk.Reference(via_stack_2, (-9.48,-8.695), rotation=pi))
top.add(gdstk.Reference(nmos, (-19.25,-8.315)))
top.add(gdstk.Reference(via_stack_2, (-9.52,-4.835)))
top.add(gdstk.Reference(pmos, (-20.81,-6.34)))
top.add(gdstk.Reference(via_stack_2, (-12.1,-4.83)))
top.add(gdstk.Reference(nmos, (-20.81,-8.315)))
top.add(gdstk.Reference(via_stack, (-25.315,-7.11), rotation=pi/2))
top.add(gdstk.Reference(pmos, (-21.32,-6.34)))
top.add(gdstk.Reference(nmos, (-25.43,-8.315)))
top.add(gdstk.Reference(nmos, (-21.32,-8.315)))
top.add(gdstk.Reference(pmos, (-9.905,-6.34)))
top.add(gdstk.Reference(nmos, (-21.83,-8.315)))
top.add(gdstk.Reference(nmos, (-9.905,-8.315)))
top.add(gdstk.Reference(pmos, (-21.83,-6.34)))
top.add(gdstk.Reference(nmos, (-9.395,-8.315)))
top.add(gdstk.Reference(pmos, (-17.62,-6.34)))
top.add(gdstk.Reference(via_stack_2, (-12.57,-9.99), rotation=pi))
top.add(gdstk.Reference(nmos, (-17.62,-8.315)))
top.add(gdstk.Reference(pmos, (-25.43,-6.34)))
top.add(gdstk.Reference(via_stack_2, (-24.025,-4.83)))
top.add(gdstk.Reference(via_stack_1, (-24.265,-6.68)))
top.add(gdstk.Reference(via_stack_2, (-21.445,-4.835)))
top.add(gdstk.Reference(pmos, (-24.92,-6.34)))
top.add(gdstk.Reference(via_stack_2, (-21.405,-8.695), rotation=pi))
top.add(gdstk.Reference(via_stack, (-18.32,-7.09), rotation=pi))
top.add(gdstk.Reference(via_stack_2, (-23.985,-8.69), rotation=pi))
top.add(gdstk.Reference(nmos, (-24.92,-8.315)))
top.add(gdstk.Reference(via_stack_2, (-24.535,-3.535)))
top.add(gdstk.Reference(pmos, (-10.415,-6.34)))
top.add(gdstk.Reference(via_stack_2, (-20.935,-3.545)))
top.add(gdstk.Reference(nmos, (-10.415,-8.315)))
top.add(gdstk.Reference(pmos, (-23.9,-6.34)))
top.add(gdstk.Reference(nmos, (-11.975,-8.315)))
top.add(gdstk.Reference(pmos, (-12.485,-6.34)))
top.add(gdstk.Reference(via_stack_2, (-15.955,-7.08), rotation=pi/2))
top.add(gdstk.Reference(nmos, (-12.485,-8.315)))
top.add(gdstk.Reference(nmos, (-16.07,-8.315)))
top.add(gdstk.Reference(nmos, (-12.995,-8.315)))
top.add(gdstk.Reference(pmos, (-16.07,-6.34)))
top.add(gdstk.Reference(pmos, (-12.995,-6.34)))
top.add(gdstk.Reference(via_stack_2, (-15.04,-7.065)))
top.add(gdstk.Reference(pmos, (-13.505,-6.34)))
top.add(gdstk.Reference(via_stack_2, (-24.495,-9.99), rotation=pi))
top.add(gdstk.Reference(nmos, (-13.505,-8.315)))
top.add(gdstk.Reference(via_stack, (-13.39,-7.11), rotation=pi/2))
top.add(gdstk.Reference(via_stack_1, (-9.25,-6.68)))
top.add(gdstk.Reference(via_stack_1, (-10.27,-6.685)))
top.add(gdstk.Reference(via_stack_1, (-22.195,-6.685)))
top.add(gdstk.Reference(via_stack_1, (-12.34,-6.68)))
top.add(gdstk.Reference(nmos, (-24.41,-8.315)))
top.add(gdstk.Reference(via_stack, (-16.695,-7.3), rotation=pi))
top.add(gdstk.Reference(via_stack_2, (-8.97,-10), rotation=pi))
top.add(gdstk.Reference(via_stack_2, (-20.895,-10), rotation=pi))
top.add(gdstk.Reference(nmos, (-8.885,-8.315)))
top.add(gdstk.Reference(pmos, (-8.885,-6.34)))
top.add(gdstk.Reference(nmos, (-7.325,-8.315)))
top.add(gdstk.Reference(pmos, (-7.325,-6.34)))
top.add(gdstk.Reference(via_stack_1, (-7.18,-6.685)))
top.add(gdstk.Reference(via_stack, (-6.395,-7.09), rotation=pi))
top.add(gdstk.Reference(pmos, (-9.395,-6.34)))
top.add(gdstk.Reference(via_stack_1, (-21.175,-6.68)))
top.add(gdstk.Reference(pmos, (-24.41,-6.34)))
top.add(gdstk.Reference(nmos, (-23.9,-8.315)))
top.add(gdstk.Reference(pmos, (-11.975,-6.34)))
top.add(gdstk.Reference(nmos, (-22.34,-8.315)))
top.add(gdstk.Reference(via_stack_2, (-9.01,-3.545)))
top.add(gdstk.Reference(pmos, (-22.34,-6.34)))
top.add(gdstk.Reference(via_stack, (-12.61,-3.535)))
top.add(gdstk.Reference(via_stack_1, (-19.105,-6.685)))
top.add(gdstk.Reference(via_stack_2, (-12.06,-8.69), rotation=pi))

lib.write_gds('TOP.gds')
